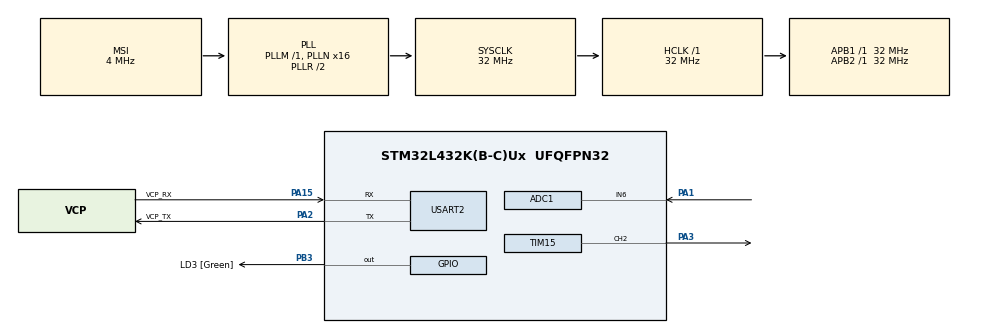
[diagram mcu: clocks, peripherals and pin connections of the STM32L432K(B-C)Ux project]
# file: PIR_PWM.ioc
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ADC1.AWD1HighThreshold=3000
ADC1.AWD1ITMode=ENABLE
ADC1.Channel-0\#ChannelRegularConversion=ADC_CHANNEL_6
ADC1.EnableAnalogWatchDog1=true
ADC1.NbrOfConversionFlag=1
ADC1.OffsetNumber-0\#ChannelRegularConversion=ADC_OFFSET_NONE
ADC1.Rank-0\#ChannelRegularConversion=1
ADC1.SamplingTime-0\#ChannelRegularConversion=ADC_SAMPLETIME_2CYCLES_5
ADC1.WatchdogChannel=ADC_CHANNEL_6
ADC1.master=1
Mcu.Family=STM32L4
Mcu.Name=STM32L432K(B-C)Ux
Mcu.Package=UFQFPN32
NVIC.ADC1_IRQn=true\:0\:0\:false\:true\:true\:1\:true\:true
NVIC.PriorityGroup=NVIC_PRIORITYGROUP_4
PA0.GPIO_Label=MCO [High speed clock in]
PA0.Mode=HSE-External-Clock-Source-for-LittleOrca
PA0.Signal=RCC_CK_IN
PA1.Signal=ADCx_IN6
PA13\ (JTMS-SWDIO).GPIO_Label=SWDIO
PA13\ (JTMS-SWDIO).Mode=Serial_Wire
PA13\ (JTMS-SWDIO).Signal=SYS_JTMS-SWDIO
PA14\ (JTCK-SWCLK).GPIO_Label=SWCLK
PA14\ (JTCK-SWCLK).Mode=Serial_Wire
PA14\ (JTCK-SWCLK).Signal=SYS_JTCK-SWCLK
PA15\ (JTDI).GPIO_Label=VCP_RX
PA15\ (JTDI).Mode=Asynchronous
PA15\ (JTDI).Signal=USART2_RX
PA2.GPIO_Label=VCP_TX
PA2.Mode=Asynchronous
PA2.Signal=USART2_TX
PA3.Signal=S_TIM15_CH2
PB3\ (JTDO-TRACESWO).GPIO_Label=LD3 [Green]
PB3\ (JTDO-TRACESWO).Signal=GPIO_Output
PC14-OSC32_IN\ (PC14).Mode=LSE-External-Oscillator
PC14-OSC32_IN\ (PC14).Signal=RCC_OSC32_IN
PC15-OSC32_OUT\ (PC15).Mode=LSE-External-Oscillator
PC15-OSC32_OUT\ (PC15).Signal=RCC_OSC32_OUT
ProjectManager.HeapSize=0x200
ProjectManager.StackSize=0x400
ProjectManager.TargetToolchain=STM32CubeIDE
RCC.ADCFreq_Value=32000000
RCC.AHBFreq_Value=32000000
RCC.APB1Freq_Value=32000000
RCC.APB1TimFreq_Value=32000000
RCC.APB2Freq_Value=32000000
RCC.APB2TimFreq_Value=32000000
RCC.CortexFreq_Value=32000000
RCC.HCLKFreq_Value=32000000
RCC.HSE_VALUE=8000000
RCC.HSI16_VALUE=16000000
RCC.HSI48_VALUE=48000000
RCC.HSI_VALUE=16000000
RCC.MSI_VALUE=4000000
RCC.PLLMUL=RCC_PLLMUL_4
RCC.PLLN=16
RCC.PLLSAI1N=16
RCC.SYSCLKFreq_VALUE=32000000
RCC.SYSCLKSource=RCC_SYSCLKSOURCE_PLLCLK
RCC.USBFreq_Value=32000000
RCC.VCOOutputFreq_Value=64000000
RTC.Format=RTC_FORMAT_BIN
SH.ADCx_IN6.0=ADC1_IN6,IN6-Single-Ended
SH.S_TIM15_CH2.0=TIM15_CH2,PWM Generation2 CH2
TIM15.AutoReloadPreload=TIM_AUTORELOAD_PRELOAD_ENABLE
TIM15.Channel-PWM\ Generation2\ CH2=TIM_CHANNEL_2
TIM15.Period=32768
USART2.VirtualMode-Asynchronous=VM_ASYNC
VP_RTC_VS_RTC_Activate.Mode=RTC_Enabled
VP_RTC_VS_RTC_Calendar.Mode=RTC_Calendar
VP_TIM15_VS_ClockSourceINT.Mode=Internal
board=NUCLEO-L432KC

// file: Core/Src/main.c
/* USER CODE BEGIN Header */
/**
  ******************************************************************************
  * @file           : main.c
  * @brief          : Main program body
  ******************************************************************************
  * @attention
  *
  * <h2><center>&copy; Copyright (c) 2019 STMicroelectronics.
  * All rights reserved.</center></h2>
  *
  * This software component is licensed by ST under BSD 3-Clause license,
  * the "License"; You may not use this file except in compliance with the
  * License. You may obtain a copy of the License at:
  *                        opensource.org/licenses/BSD-3-Clause
  *
  ******************************************************************************
  */
/* USER CODE END Header */

#include "main.h"

/* USER CODE BEGIN Includes */
#include <stdio.h>
#include <stdlib.h>
#include <string.h>

/* USER CODE END Includes */

/* USER CODE BEGIN PD */
#define BUFSIZE 90
#define ADC_THRESHOLD	3000

//PWM SETTINGS
#define PWMPERIOD 32768
#define PWMDEC 200

#define LIGHTONTIME 30 //s
/* USER CODE END PD */

ADC_HandleTypeDef hadc1;

RTC_HandleTypeDef hrtc;

TIM_HandleTypeDef htim15;

UART_HandleTypeDef huart2;

void SystemClock_Config(void);
static void MX_GPIO_Init(void);
static void MX_USART2_UART_Init(void);
static void MX_ADC1_Init(void);
static void MX_TIM15_Init(void);
static void MX_RTC_Init(void);
static void MX_NVIC_Init(void);
/* USER CODE BEGIN PFP */
void uint32tToString(uint32_t reg, char *str);
void printRegisterToBinary(uint32_t registerToPrint);
static void reset_rtc(void);
/* USER CODE END PFP */

/* USER CODE BEGIN 0 */
char buffer[BUFSIZE] = "";
char registerBinairy[33];
const char newLine[] = "\r\n";
finiteState currentState = idle;

/* USER CODE END 0 */

int main(void)
{
  /* USER CODE BEGIN 1 */
  registerBinairy[32] = '\0';
  uint32_t adcValue = 0;
  /* USER CODE END 1 */

  /* MCU Configuration--------------------------------------------------------*/

  /* Reset of all peripherals, Initializes the Flash interface and the Systick. */
  HAL_Init();

  /* Configure the system clock */
  SystemClock_Config();

  /* Initialize all configured peripherals */
  MX_GPIO_Init();
  MX_USART2_UART_Init();
  MX_ADC1_Init();
  MX_TIM15_Init();
  MX_RTC_Init();

  /* Initialize interrupts */
  MX_NVIC_Init();
  /* USER CODE BEGIN 2 */
  HAL_TIM_PWM_Init(&htim15);
  HAL_TIM_PWM_Start(&htim15, TIM_CHANNEL_2);
  /* USER CODE END 2 */

  /* Infinite loop */
  /* USER CODE BEGIN WHILE */
  #ifdef __DEBUG
    strcpy(buffer, "NUCLEO STM32L432KC initialisation done\r\n");
    HAL_UART_Transmit(&huart2, (unsigned char*) buffer, strlen(buffer), HAL_MAX_DELAY);
  #endif
  HAL_TIM_PWM_Stop(&htim15, TIM_CHANNEL_2);
  while (1)
  {
	  HAL_ADC_Start(&hadc1);
	  HAL_ADC_PollForConversion(&hadc1, HAL_MAX_DELAY);
	  adcValue = HAL_ADC_GetValue(&hadc1);
	  HAL_ADC_Stop(&hadc1);
	  switch(currentState)
	  {
	    case idle:
	      #ifdef __DEBUG
		strcpy(buffer, "State: idle\r\n");
		HAL_UART_Transmit(&huart2, (unsigned char*) buffer, strlen(buffer), HAL_MAX_DELAY);
	      #endif
	      __NOP(); //TODO wait for interrupt
	      break;
	    case turnOffLight:
	      #ifdef __DEBUG
		      strcpy(buffer, "State: turnOffLight\r\n");
		      HAL_UART_Transmit(&huart2, (unsigned char*) buffer, strlen(buffer), HAL_MAX_DELAY);
	      #endif
	      htim15.Instance->CCR2 = 0;
	      HAL_TIM_PWM_Stop(&htim15, TIM_CHANNEL_2);
	      currentState = idle;
	      break;
	    case personDetected:
	      #ifdef __DEBUG
		      strcpy(buffer, "State: personDetected\r\n");
		      HAL_UART_Transmit(&huart2, (unsigned char*) buffer, strlen(buffer), HAL_MAX_DELAY);
	      #endif
	      htim15.Instance->CCR2 = PWMPERIOD;
	      HAL_TIM_PWM_Start(&htim15, TIM_CHANNEL_2);
	      reset_rtc();
	      currentState = interval;
	      break;
	    case interval:
	      #ifdef __DEBUG
		    strcpy(buffer, "State: interval\r\n");
		    HAL_UART_Transmit(&huart2, (unsigned char*) buffer, strlen(buffer), HAL_MAX_DELAY);
	      #endif
	      if( hrtc.Instance->TR > LIGHTONTIME)
		currentState = fadeOut;
	      break;
	    case fadeOut:
	    #ifdef __DEBUG
		 strcpy(buffer, "State: fadeOut\r\n");
		 HAL_UART_Transmit(&huart2, (unsigned char*) buffer, strlen(buffer), HAL_MAX_DELAY);
	    #endif
	     if( htim15.Instance->CCR2 < PWMDEC )
	     {
		 currentState = turnOffLight;
	     }
	     else
	     {
		 htim15.Instance->CCR2 -= PWMDEC;
	     }
	      break;
	    default:
	      break;
	  }
	  HAL_Delay(10); //POLLING speed
    /* USER CODE END WHILE */

  }
}

void SystemClock_Config(void)
{
  RCC_OscInitTypeDef RCC_OscInitStruct = {0};
  RCC_ClkInitTypeDef RCC_ClkInitStruct = {0};
  RCC_PeriphCLKInitTypeDef PeriphClkInit = {0};

  /** Configure LSE Drive Capability
  */
  HAL_PWR_EnableBkUpAccess();
  __HAL_RCC_LSEDRIVE_CONFIG(RCC_LSEDRIVE_LOW);
  /** Initializes the CPU, AHB and APB busses clocks
  */
  RCC_OscInitStruct.OscillatorType = RCC_OSCILLATORTYPE_LSI|RCC_OSCILLATORTYPE_LSE
                              |RCC_OSCILLATORTYPE_MSI;
  RCC_OscInitStruct.LSEState = RCC_LSE_ON;
  RCC_OscInitStruct.LSIState = RCC_LSI_ON;
  RCC_OscInitStruct.MSIState = RCC_MSI_ON;
  RCC_OscInitStruct.MSICalibrationValue = 0;
  RCC_OscInitStruct.MSIClockRange = RCC_MSIRANGE_6;
  RCC_OscInitStruct.PLL.PLLState = RCC_PLL_ON;
  RCC_OscInitStruct.PLL.PLLSource = RCC_PLLSOURCE_MSI;
  RCC_OscInitStruct.PLL.PLLM = 1;
  RCC_OscInitStruct.PLL.PLLN = 16;
  RCC_OscInitStruct.PLL.PLLP = RCC_PLLP_DIV7;
  RCC_OscInitStruct.PLL.PLLQ = RCC_PLLQ_DIV2;
  RCC_OscInitStruct.PLL.PLLR = RCC_PLLR_DIV2;
  if (HAL_RCC_OscConfig(&RCC_OscInitStruct) != HAL_OK)
  {
    Error_Handler();
  }
  /** Initializes the CPU, AHB and APB busses clocks
  */
  RCC_ClkInitStruct.ClockType = RCC_CLOCKTYPE_HCLK|RCC_CLOCKTYPE_SYSCLK
                              |RCC_CLOCKTYPE_PCLK1|RCC_CLOCKTYPE_PCLK2;
  RCC_ClkInitStruct.SYSCLKSource = RCC_SYSCLKSOURCE_PLLCLK;
  RCC_ClkInitStruct.AHBCLKDivider = RCC_SYSCLK_DIV1;
  RCC_ClkInitStruct.APB1CLKDivider = RCC_HCLK_DIV1;
  RCC_ClkInitStruct.APB2CLKDivider = RCC_HCLK_DIV1;

  if (HAL_RCC_ClockConfig(&RCC_ClkInitStruct, FLASH_LATENCY_1) != HAL_OK)
  {
    Error_Handler();
  }
  PeriphClkInit.PeriphClockSelection = RCC_PERIPHCLK_RTC|RCC_PERIPHCLK_USART2
                              |RCC_PERIPHCLK_ADC;
  PeriphClkInit.Usart2ClockSelection = RCC_USART2CLKSOURCE_PCLK1;
  PeriphClkInit.AdcClockSelection = RCC_ADCCLKSOURCE_PLLSAI1;
  PeriphClkInit.RTCClockSelection = RCC_RTCCLKSOURCE_LSI;
  PeriphClkInit.PLLSAI1.PLLSAI1Source = RCC_PLLSOURCE_MSI;
  PeriphClkInit.PLLSAI1.PLLSAI1M = 1;
  PeriphClkInit.PLLSAI1.PLLSAI1N = 16;
  PeriphClkInit.PLLSAI1.PLLSAI1P = RCC_PLLP_DIV7;
  PeriphClkInit.PLLSAI1.PLLSAI1Q = RCC_PLLQ_DIV2;
  PeriphClkInit.PLLSAI1.PLLSAI1R = RCC_PLLR_DIV2;
  PeriphClkInit.PLLSAI1.PLLSAI1ClockOut = RCC_PLLSAI1_ADC1CLK;
  if (HAL_RCCEx_PeriphCLKConfig(&PeriphClkInit) != HAL_OK)
  {
    Error_Handler();
  }
  /** Configure the main internal regulator output voltage
  */
  if (HAL_PWREx_ControlVoltageScaling(PWR_REGULATOR_VOLTAGE_SCALE1) != HAL_OK)
  {
    Error_Handler();
  }
  /** Enable MSI Auto calibration
  */
  HAL_RCCEx_EnableMSIPLLMode();
}

/**
  * @brief NVIC Configuration.
  * @retval None
  */
static void MX_NVIC_Init(void)
{
  /* ADC1_IRQn interrupt configuration */
  HAL_NVIC_SetPriority(ADC1_IRQn, 0, 0);
  HAL_NVIC_EnableIRQ(ADC1_IRQn);
}

static void MX_ADC1_Init(void)
{

  ADC_AnalogWDGConfTypeDef AnalogWDGConfig = {0};
  ADC_ChannelConfTypeDef sConfig = {0};

  /** Common config
  */
  hadc1.Instance = ADC1;
  hadc1.Init.ClockPrescaler = ADC_CLOCK_ASYNC_DIV1;
  hadc1.Init.Resolution = ADC_RESOLUTION_12B;
  hadc1.Init.DataAlign = ADC_DATAALIGN_RIGHT;
  hadc1.Init.ScanConvMode = ADC_SCAN_DISABLE;
  hadc1.Init.EOCSelection = ADC_EOC_SINGLE_CONV;
  hadc1.Init.LowPowerAutoWait = DISABLE;
  hadc1.Init.ContinuousConvMode = DISABLE;
  hadc1.Init.NbrOfConversion = 1;
  hadc1.Init.DiscontinuousConvMode = DISABLE;
  hadc1.Init.ExternalTrigConv = ADC_SOFTWARE_START;
  hadc1.Init.ExternalTrigConvEdge = ADC_EXTERNALTRIGCONVEDGE_NONE;
  hadc1.Init.DMAContinuousRequests = DISABLE;
  hadc1.Init.Overrun = ADC_OVR_DATA_PRESERVED;
  hadc1.Init.OversamplingMode = DISABLE;
  if (HAL_ADC_Init(&hadc1) != HAL_OK)
  {
    Error_Handler();
  }
  /** Configure Analog WatchDog 1
  */
  AnalogWDGConfig.WatchdogNumber = ADC_ANALOGWATCHDOG_1;
  AnalogWDGConfig.WatchdogMode = ADC_ANALOGWATCHDOG_SINGLE_REG;
  AnalogWDGConfig.Channel = ADC_CHANNEL_6;
  AnalogWDGConfig.ITMode = ENABLE;
  AnalogWDGConfig.HighThreshold = 3000;
  AnalogWDGConfig.LowThreshold = 0;
  if (HAL_ADC_AnalogWDGConfig(&hadc1, &AnalogWDGConfig) != HAL_OK)
  {
    Error_Handler();
  }
  /** Configure Regular Channel
  */
  sConfig.Channel = ADC_CHANNEL_6;
  sConfig.Rank = ADC_REGULAR_RANK_1;
  sConfig.SamplingTime = ADC_SAMPLETIME_2CYCLES_5;
  sConfig.SingleDiff = ADC_SINGLE_ENDED;
  sConfig.OffsetNumber = ADC_OFFSET_NONE;
  sConfig.Offset = 0;
  if (HAL_ADC_ConfigChannel(&hadc1, &sConfig) != HAL_OK)
  {
    Error_Handler();
  }

}

static void MX_RTC_Init(void)
{

  RTC_TimeTypeDef sTime = {0};
  RTC_DateTypeDef sDate = {0};

  /** Initialize RTC Only
  */
  hrtc.Instance = RTC;
  hrtc.Init.HourFormat = RTC_HOURFORMAT_24;
  hrtc.Init.AsynchPrediv = 127;
  hrtc.Init.SynchPrediv = 255;
  hrtc.Init.OutPut = RTC_OUTPUT_DISABLE;
  hrtc.Init.OutPutRemap = RTC_OUTPUT_REMAP_NONE;
  hrtc.Init.OutPutPolarity = RTC_OUTPUT_POLARITY_HIGH;
  hrtc.Init.OutPutType = RTC_OUTPUT_TYPE_OPENDRAIN;
  if (HAL_RTC_Init(&hrtc) != HAL_OK)
  {
    Error_Handler();
  }

  /** Initialize RTC and set the Time and Date
  */
  sTime.Hours = 0;
  sTime.Minutes = 0;
  sTime.Seconds = 0;
  sTime.DayLightSaving = RTC_DAYLIGHTSAVING_NONE;
  sTime.StoreOperation = RTC_STOREOPERATION_RESET;
  if (HAL_RTC_SetTime(&hrtc, &sTime, RTC_FORMAT_BIN) != HAL_OK)
  {
    Error_Handler();
  }
  sDate.WeekDay = RTC_WEEKDAY_MONDAY;
  sDate.Month = RTC_MONTH_JANUARY;
  sDate.Date = 1;
  sDate.Year = 0;

  if (HAL_RTC_SetDate(&hrtc, &sDate, RTC_FORMAT_BIN) != HAL_OK)
  {
    Error_Handler();
  }

}

/**
  * @brief RTC Reset Function
  * @param None
  * @retval None
  */
static void reset_rtc(void)
{
  uint32_t mask = 0;

  //The following steps are required to unlock the write protection on all the RTC registers except for RTC_TAMPCR, RTC_BKPxR, RTC_OR and RTC_ISR[13:8].
  // 1. Write ‘0xCA’ into the RTC_WPR register.
  hrtc.Instance->WPR = 0xCA;
  // 2. Write ‘0x53’ into the RTC_WPR register.
  hrtc.Instance->WPR = 0x53;
  //3. Set INIT bit (7) to 1 in the RTC_ISR register to enter initialization mode. In this mode, the calendar counter is stopped and its value can be updated.
  mask = 0x80;
  hrtc.Instance->ISR = (hrtc.Instance->ISR | mask);
  //4. Poll INITF bit (6) of in the RTC_ISR register. The initialization phase mode is entered when INITF is set to 1. It takes around 2 RTCCLK clock cycles (due to clock synchronization).
  mask = 0x40;
  while( (hrtc.Instance->ISR & mask) == 0 )
  {
    #ifdef __DEBUG
	    strcpy(buffer, "Waiting for RTC initialization phase mode to be enabled\r\n");
	    HAL_UART_Transmit(&huart2, (unsigned char*) buffer, strlen(buffer), HAL_MAX_DELAY);
	    printRegisterToBinary(hrtc.Instance->ISR);
	    HAL_Delay(500);
    #endif
  }
  #ifdef __DEBUG
    strcpy(buffer, "RTC initialization phase mode ENABLED\r\n");
    HAL_UART_Transmit(&huart2, (unsigned char*) buffer, strlen(buffer), HAL_MAX_DELAY);
  #endif
  //5 No prescaling needed ? Clock to RTC is 32768 Hz
  //6  Load the initial time and date values in the shadow registers (RTC_TR and RTC_DR), and configure the time format (12 or 24 hours) through the FMT bit in the RTC_CR register.
  hrtc.Instance->TR = 0;
  hrtc.Instance->DR = 0;
  //7  Exit the initialization mode by clearing the INIT bit. The actual calendar counter value is then automatically loaded and the counting restarts after 4 RTCCLK clock cycles. When the initialization sequence is complete, the calendar starts counting.
  mask = 0xFFFFFF7F;
  hrtc.Instance->ISR = (hrtc.Instance->ISR & mask);
}

void uint32tToString(uint32_t reg, char *str)
{
	uint32_t result = 0;
	uint32_t mask = 0b10000000000000000000000000000000; //0x80000000 ‭2147483648‬
	for(int i = 0; i < sizeof(uint32_t)*8; i++){
		result = reg & mask;
		if(result > 0)
		  str[i] = '1';
		else
		  str[i] = '0';

		reg <<= 1;
	}
}

void printRegisterToBinary(uint32_t registerToPrint)
{
  uint32tToString(registerToPrint, registerBinairy);
  HAL_UART_Transmit(&huart2, (unsigned char*) registerBinairy, strlen(registerBinairy), HAL_MAX_DELAY);
  HAL_UART_Transmit(&huart2, (unsigned char*) newLine, strlen(newLine), HAL_MAX_DELAY);
}

static void MX_TIM15_Init(void)
{

  TIM_ClockConfigTypeDef sClockSourceConfig = {0};
  TIM_MasterConfigTypeDef sMasterConfig = {0};
  TIM_OC_InitTypeDef sConfigOC = {0};
  TIM_BreakDeadTimeConfigTypeDef sBreakDeadTimeConfig = {0};

  htim15.Instance = TIM15;
  htim15.Init.Prescaler = 0;
  htim15.Init.CounterMode = TIM_COUNTERMODE_UP;
  htim15.Init.Period = 32768;
  htim15.Init.ClockDivision = TIM_CLOCKDIVISION_DIV1;
  htim15.Init.RepetitionCounter = 0;
  htim15.Init.AutoReloadPreload = TIM_AUTORELOAD_PRELOAD_ENABLE;
  if (HAL_TIM_Base_Init(&htim15) != HAL_OK)
  {
    Error_Handler();
  }
  sClockSourceConfig.ClockSource = TIM_CLOCKSOURCE_INTERNAL;
  if (HAL_TIM_ConfigClockSource(&htim15, &sClockSourceConfig) != HAL_OK)
  {
    Error_Handler();
  }
  if (HAL_TIM_PWM_Init(&htim15) != HAL_OK)
  {
    Error_Handler();
  }
  sMasterConfig.MasterOutputTrigger = TIM_TRGO_RESET;
  sMasterConfig.MasterSlaveMode = TIM_MASTERSLAVEMODE_DISABLE;
  if (HAL_TIMEx_MasterConfigSynchronization(&htim15, &sMasterConfig) != HAL_OK)
  {
    Error_Handler();
  }
  sConfigOC.OCMode = TIM_OCMODE_PWM1;
  sConfigOC.Pulse = 0;
  sConfigOC.OCPolarity = TIM_OCPOLARITY_HIGH;
  sConfigOC.OCNPolarity = TIM_OCNPOLARITY_HIGH;
  sConfigOC.OCFastMode = TIM_OCFAST_DISABLE;
  sConfigOC.OCIdleState = TIM_OCIDLESTATE_RESET;
  sConfigOC.OCNIdleState = TIM_OCNIDLESTATE_RESET;
  if (HAL_TIM_PWM_ConfigChannel(&htim15, &sConfigOC, TIM_CHANNEL_2) != HAL_OK)
  {
    Error_Handler();
  }
  sBreakDeadTimeConfig.OffStateRunMode = TIM_OSSR_DISABLE;
  sBreakDeadTimeConfig.OffStateIDLEMode = TIM_OSSI_DISABLE;
  sBreakDeadTimeConfig.LockLevel = TIM_LOCKLEVEL_OFF;
  sBreakDeadTimeConfig.DeadTime = 0;
  sBreakDeadTimeConfig.BreakState = TIM_BREAK_DISABLE;
  sBreakDeadTimeConfig.BreakPolarity = TIM_BREAKPOLARITY_HIGH;
  sBreakDeadTimeConfig.AutomaticOutput = TIM_AUTOMATICOUTPUT_DISABLE;
  if (HAL_TIMEx_ConfigBreakDeadTime(&htim15, &sBreakDeadTimeConfig) != HAL_OK)
  {
    Error_Handler();
  }
  HAL_TIM_MspPostInit(&htim15);

}

static void MX_USART2_UART_Init(void)
{

  huart2.Instance = USART2;
  huart2.Init.BaudRate = 115200;
  huart2.Init.WordLength = UART_WORDLENGTH_8B;
  huart2.Init.StopBits = UART_STOPBITS_1;
  huart2.Init.Parity = UART_PARITY_NONE;
  huart2.Init.Mode = UART_MODE_TX_RX;
  huart2.Init.HwFlowCtl = UART_HWCONTROL_NONE;
  huart2.Init.OverSampling = UART_OVERSAMPLING_16;
  huart2.Init.OneBitSampling = UART_ONE_BIT_SAMPLE_DISABLE;
  huart2.AdvancedInit.AdvFeatureInit = UART_ADVFEATURE_NO_INIT;
  if (HAL_UART_Init(&huart2) != HAL_OK)
  {
    Error_Handler();
  }

}

static void MX_GPIO_Init(void)
{
  GPIO_InitTypeDef GPIO_InitStruct = {0};

  /* GPIO Ports Clock Enable */
  __HAL_RCC_GPIOC_CLK_ENABLE();
  __HAL_RCC_GPIOA_CLK_ENABLE();
  __HAL_RCC_GPIOB_CLK_ENABLE();

  /*Configure GPIO pin Output Level */
  HAL_GPIO_WritePin(LD3_GPIO_Port, LD3_Pin, GPIO_PIN_RESET);

  /*Configure GPIO pin : LD3_Pin */
  GPIO_InitStruct.Pin = LD3_Pin;
  GPIO_InitStruct.Mode = GPIO_MODE_OUTPUT_PP;
  GPIO_InitStruct.Pull = GPIO_NOPULL;
  GPIO_InitStruct.Speed = GPIO_SPEED_FREQ_LOW;
  HAL_GPIO_Init(LD3_GPIO_Port, &GPIO_InitStruct);

}

/* USER CODE BEGIN 4 */
//
/* USER CODE END 4 */

void Error_Handler(void)
{
}

/************************ (C) COPYRIGHT STMicroelectronics *****END OF FILE****/
